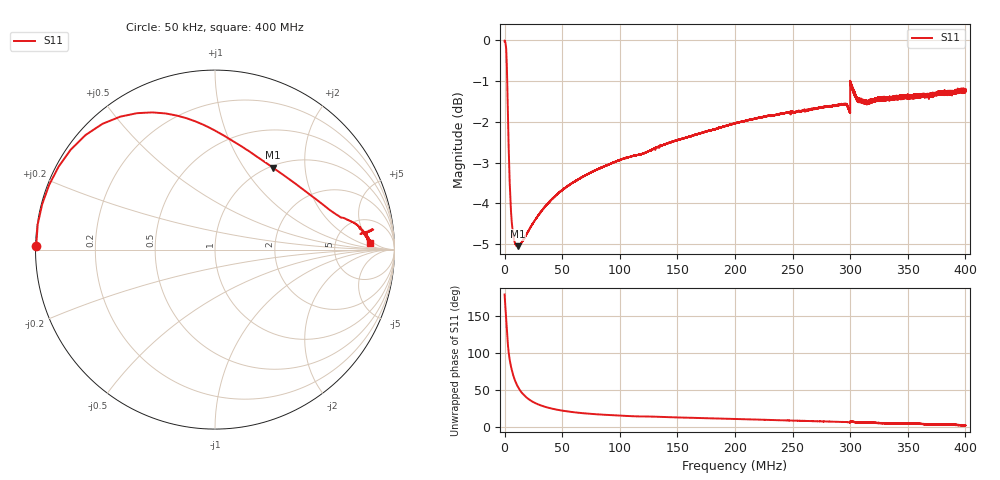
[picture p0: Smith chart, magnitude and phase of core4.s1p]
# HZ S RI R 50
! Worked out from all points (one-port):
!   30300 points, 50 kHz to 400 MHz, reference 50 ohm
!   lowest |S11| = -5.0 dB at 11.45 MHz (marker M1), VSWR 3.54, Z = 51.7 + j68.6 ohm
!   |S11| at or under -10 dB: nowhere
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50000  -0.9961 0.0209
525200  -0.969 0.2306
1026800  -0.8889 0.4322
2228000  -0.5046 0.7474
2769200  -0.326 0.7635
3323600  -0.1877 0.7407
3944000  -0.078 0.7014
4538000  -0.00241 0.6644
5224400  0.0627 0.6273
6029600  0.1203 0.5917
7059200  0.18 0.5547
8339600  0.2325 0.5187
1.14548e7  0.3239 0.4558
1.7144e7  0.4219 0.3865
2.49716e7  0.4977 0.3306
3.57032e7  0.5582 0.2841
5.00516e7  0.607 0.2463
1.0004e8  0.6877 0.1884
1.500416e8  0.7352 0.1678
2.0003e8  0.7768 0.1479
2.500184e8  0.8068 0.1221
2.980004e8  0.8224 0.0932
3.0002e8  0.884 0.1111
3.02e8  0.8645 0.1043
3.0662e8  0.8364 0.09
3.137216e8  0.8394 0.0834
3.500084e8  0.8542 0.0662
3.999968e8  0.8702 0.035
